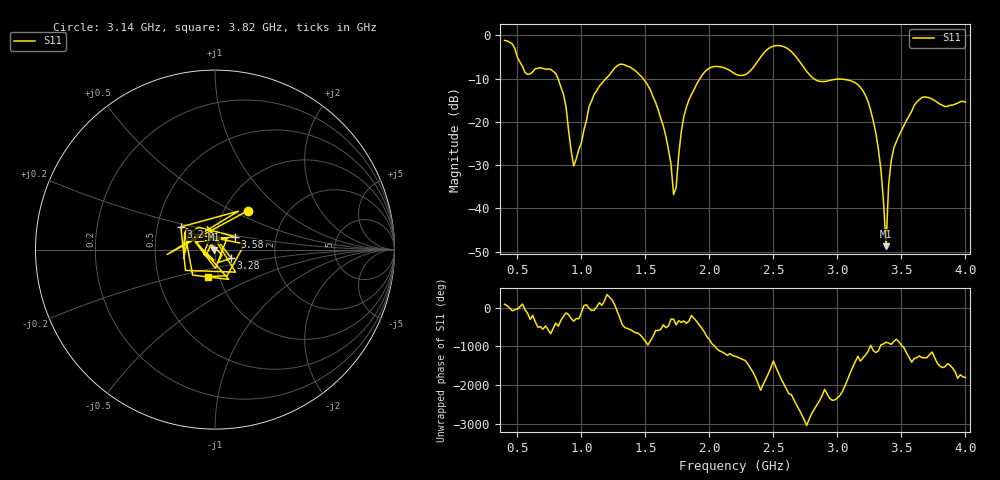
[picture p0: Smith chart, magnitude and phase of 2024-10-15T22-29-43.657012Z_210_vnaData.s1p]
! Created with skrf (http://scikit-rf.org).
# Hz S RI R 50.0
!freq ReS11 ImS11
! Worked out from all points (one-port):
!   181 points, 400 MHz to 4 GHz, reference 50 ohm
!   lowest |S11| = -48.7 dB at 3.38 GHz (marker M1), VSWR 1.01, Z = 49.6 - j0.0496 ohm
!   |S11| at or under -10 dB: 817.1 MHz to 1.193 GHz (375.4 MHz wide, 37.4 % of centre); 1.482 GHz to 1.926 GHz (444.4 MHz wide, 26.1 % of centre); 2.814 GHz to end of sweep
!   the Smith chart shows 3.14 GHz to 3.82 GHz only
!   S11 on the Smith chart (normalised r, x): 3.14 GHz: 1.29, +0.60; 3.2 GHz: 0.66, +0.18; 3.28 GHz: 1.19, -0.12; 3.58 GHz: 1.23, +0.18; 3.82 GHz: 0.88, -0.27
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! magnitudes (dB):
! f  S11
! 400 MHz  -1.2
! 800 MHz  -8.8
! 860 MHz  -13.7
! 940 MHz  -30.2
! 1.1 GHz  -13.7
! 1.3 GHz  -6.7
! 1.54 GHz  -12.7
! 1.66 GHz  -23.4
! 1.72 GHz  -36.8
! 1.76 GHz  -27.7
! 1.82 GHz  -16.6
! 1.94 GHz  -9.4
! 2.2 GHz  -8.9
! 2.5 GHz  -2.5
! 2.66 GHz  -4.4
! 2.84 GHz  -10.5
! 3.1 GHz  -10.5
! 3.14 GHz  -11.0
! 3.2 GHz  -12.8
! 3.28 GHz  -19.7
! 3.34 GHz  -31.1
! 3.38 GHz  -48.7
! 3.4 GHz  -34.7
! 3.42 GHz  -29.1
! 3.56 GHz  -18.6
! 3.58 GHz  -17.6
! 3.82 GHz  -16.2
! 4 GHz  -15.5
